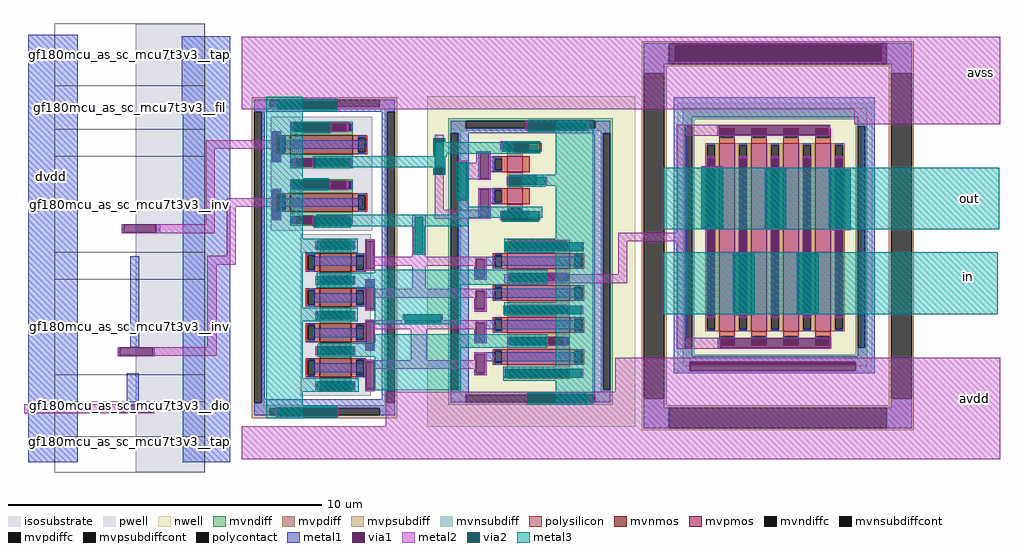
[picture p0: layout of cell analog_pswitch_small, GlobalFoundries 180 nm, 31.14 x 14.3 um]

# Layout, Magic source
magic
tech gf180mcuD
magscale 1 10
<< isosubstrate >>
rect 10920 200 11360 3060
<< nwell >>
rect 14449 949 15509 989
<< mvpsubdiff >>
rect 14149 2936 15888 2950
rect 14149 2804 14323 2936
rect 15714 2804 15888 2936
rect 14149 2790 15888 2804
rect 14149 2746 14309 2790
rect 14149 667 14163 2746
rect 14295 667 14309 2746
rect 14149 626 14309 667
rect 15728 2746 15888 2790
rect 15728 667 15742 2746
rect 15874 667 15888 2746
rect 15728 626 15888 667
rect 14149 612 15888 626
rect 14149 480 14323 612
rect 15714 480 15888 612
rect 14149 466 15888 480
<< mvpsubdiffcont >>
rect 14323 2804 15714 2936
rect 14163 667 14295 2746
rect 15742 667 15874 2746
rect 14323 480 15714 612
<< metal1 >>
rect 10235 264 10550 2990
rect 11214 2480 11524 2980
rect 10832 1780 11076 1782
rect 10832 1726 10844 1780
rect 11053 1726 11076 1780
rect 10832 1724 11076 1726
rect 10885 998 10945 1578
rect 10806 995 10945 998
rect 10970 995 11042 998
rect 10806 941 10820 995
rect 11029 941 11042 995
rect 10806 938 11042 941
rect 10864 632 10940 830
rect 10804 631 11033 632
rect 10804 579 10814 631
rect 11023 579 11033 631
rect 10804 576 11033 579
rect 11220 264 11524 2480
rect 14163 2804 14323 2936
rect 15714 2804 15874 2936
rect 14163 2746 14295 2804
rect 15742 2746 15874 2804
rect 14356 2506 15638 2593
rect 14356 939 14437 2506
rect 14632 2350 14644 2414
rect 15342 2350 15355 2414
rect 14632 2349 15355 2350
rect 14637 1054 15360 1055
rect 14637 990 14650 1054
rect 15348 990 15360 1054
rect 15556 939 15638 2506
rect 14356 903 15638 939
rect 14356 845 14457 903
rect 15517 845 15638 903
rect 14356 831 15638 845
rect 14163 612 14295 667
rect 15742 612 15874 667
rect 14163 480 14323 612
rect 15714 480 15874 612
<< via1 >>
rect 10844 1726 11053 1780
rect 10820 941 11029 995
rect 10814 579 11023 631
rect 14357 2819 15687 2929
rect 14644 2350 15342 2414
rect 14650 990 15348 1054
rect 14457 845 15517 903
<< metal2 >>
rect 16192 2977 16437 2978
rect 11599 2929 16437 2977
rect 11599 2819 14357 2929
rect 15687 2819 16437 2929
rect 11599 2517 16437 2819
rect 15507 2420 16437 2517
rect 14375 2414 15355 2416
rect 14375 2350 14644 2414
rect 15342 2350 15355 2414
rect 14375 2346 15355 2350
rect 11368 2262 11628 2318
rect 10832 1780 11076 1782
rect 11368 1780 11424 2262
rect 10832 1726 10844 1780
rect 11053 1726 11424 1780
rect 10832 1724 11424 1726
rect 11503 1579 11559 1948
rect 14375 1728 14431 2346
rect 11378 1523 11559 1579
rect 14001 1672 14431 1728
rect 11378 998 11438 1523
rect 14001 1461 14057 1672
rect 13273 1405 14057 1461
rect 10806 995 11438 998
rect 10806 941 10820 995
rect 11029 941 11438 995
rect 14375 1057 14431 1672
rect 14375 1054 15360 1057
rect 14375 990 14650 1054
rect 15348 990 15360 1054
rect 14375 988 15360 990
rect 10806 938 11042 941
rect 13981 903 16437 928
rect 13981 845 14457 903
rect 15517 845 16437 903
rect 13981 711 16437 845
rect 10208 631 11040 634
rect 10208 579 10814 631
rect 11023 579 11040 631
rect 10208 576 11040 579
rect 12517 492 16437 711
rect 11599 283 16437 492
<< metal3 >>
rect 14291 1750 16433 2142
rect 14291 1206 16423 1604
use asw_via1_10cut  asw_via1_10cut_0 paramcells
transform 1 0 -2053 0 1 -2024
box 16618 3208 16674 4238
use asw_via1_10cut  asw_via1_10cut_1
transform 1 0 -1849 0 1 -2024
box 16618 3208 16674 4238
use asw_via1_10cut  asw_via1_10cut_2
transform 1 0 -1645 0 1 -2024
box 16618 3208 16674 4238
use asw_via1_10cut  asw_via1_10cut_3
transform 1 0 -1441 0 1 -2024
box 16618 3208 16674 4238
use asw_via1_10cut  asw_via1_10cut_4
transform 1 0 -1237 0 1 -2024
box 16618 3208 16674 4238
use gf180mcu_as_sc_mcu7t3v3__diode_2  gf180mcu_as_sc_mcu7t3v3__diode_2_0 $PDKPATH/libs.ref/gf180mcu_as_sc_mcu7t3v3/mag
transform 0 -1 11274 1 0 510
box -86 -86 310 870
use gf180mcu_as_sc_mcu7t3v3__fillcap_4  gf180mcu_as_sc_mcu7t3v3__fillcap_4_1 $PDKPATH/libs.ref/gf180mcu_as_sc_mcu7t3v3/mag
transform 0 -1 11274 1 0 2302
box -86 -86 534 870
use gf180mcu_as_sc_mcu7t3v3__inv_4  gf180mcu_as_sc_mcu7t3v3__inv_4_0 $PDKPATH/libs.ref/gf180mcu_as_sc_mcu7t3v3/mag
transform 0 -1 11274 1 0 734
box -86 -86 870 870
use gf180mcu_as_sc_mcu7t3v3__inv_4  gf180mcu_as_sc_mcu7t3v3__inv_4_1
transform 0 -1 11274 1 0 1518
box -86 -86 870 870
use gf180mcu_as_sc_mcu7t3v3__tap_2  gf180mcu_as_sc_mcu7t3v3__tap_2_0 $PDKPATH/libs.ref/gf180mcu_as_sc_mcu7t3v3/mag
transform 0 -1 11274 1 0 2750
box -86 -86 310 870
use gf180mcu_as_sc_mcu7t3v3__tap_2  gf180mcu_as_sc_mcu7t3v3__tap_2_1
transform 0 -1 11274 1 0 286
box -86 -86 310 870
use pfet_05v0_TLQX2N  pfet_05v0_TLQX2N_0 paramcells
transform 1 0 15001 0 1 1700
box -620 -856 620 856
use sw_lvl_shift  sw_lvl_shift_0
transform 0 1 11133 -1 0 1298
box -1302 374 810 2977
use via_NN8LKN  via_NN8LKN_5 paramcells
transform 1 0 14601 0 1 1952
box -80 -199 80 199
use via_NN8LKN  via_NN8LKN_6
transform 1 0 14801 0 1 1401
box -80 -199 80 199
use via_NN8LKN  via_NN8LKN_7
transform 1 0 15211 0 1 1404
box -80 -199 80 199
use via_NN8LKN  via_NN8LKN_8
transform 1 0 15004 0 1 1945
box -80 -199 80 199
use via_NN8LKN  via_NN8LKN_9
transform 1 0 15414 0 1 1942
box -80 -199 80 199
<< labels >>
flabel metal1 11220 264 11524 497 0 FreeSans 1600 90 0 0 dvss
port 3 nsew
flabel metal1 10244 1677 10522 2496 0 FreeSans 1600 90 0 0 dvdd
port 2 nsew
flabel metal2 16112 449 16437 890 0 FreeSans 1600 0 0 0 avdd
port 6 nsew
flabel metal2 16194 2521 16437 2978 0 FreeSans 1600 0 0 0 avss
port 4 nsew
flabel metal3 16094 1772 16386 2124 0 FreeSans 1600 0 0 0 out
port 1 nsew
flabel metal3 16066 1298 16401 1604 0 FreeSans 1600 0 0 0 in
port 0 nsew
flabel metal2 10236 576 10306 620 0 FreeSans 320 180 0 0 enable
port 5 nsew
<< properties >>
string MASKHINTS_PPLUS 14117 434 14341 2955
<< end >>

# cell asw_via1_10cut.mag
magic
tech gf180mcuD
magscale 1 5
<< metal1 >>
rect 8310 2113 8336 2119
rect 8310 1604 8336 1610
<< via1 >>
rect 8310 1610 8336 2113
<< metal2 >>
rect 8309 2113 8337 2119
rect 8309 1610 8310 2113
rect 8336 1610 8337 2113
rect 8309 1604 8337 1610
<< end >>

# cell pfet_05v0_TLQX2N: kit device pfet_05v0, w 6.0 l 0.5 m 1 nf 4 diffcov 100 polycov 100 guard 1 glc 1 grc 1 gtc 0 gbc 0 tbcov 100 rlcov 100 topc 1 botc 1 poverlap 0 doverlap 1 lmin 0.5 wmin 0.3 lmax 0.545 class mosfet full_metal 1 compatible {pfet_03v3 pfet_05v0 pfet_06v0}

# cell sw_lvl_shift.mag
magic
tech gf180mcuD
magscale 1 10
<< nwell >>
rect -1302 1650 810 2977
<< mvpsubdiff >>
rect -1295 1440 753 1456
rect -1295 1393 -1200 1440
rect 657 1393 753 1440
rect -1295 1377 753 1393
rect -1295 1345 -1216 1377
rect -1295 643 -1279 1345
rect -1232 643 -1216 1345
rect -1295 609 -1216 643
rect 673 1345 753 1377
rect 673 643 690 1345
rect 736 643 753 1345
rect 673 609 753 643
rect -1295 593 753 609
rect -1295 546 -1200 593
rect 657 546 753 593
rect -1295 530 753 546
<< mvnsubdiff >>
rect -1159 2818 667 2834
rect -1159 2771 -1063 2818
rect 572 2771 667 2818
rect -1159 2755 667 2771
rect -1159 2722 -1080 2755
rect -1159 1895 -1143 2722
rect -1096 1895 -1080 2722
rect -1159 1862 -1080 1895
rect 588 2722 667 2755
rect 588 1895 604 2722
rect 651 1895 667 2722
rect 588 1862 667 1895
rect -1159 1846 667 1862
rect -1159 1799 -1063 1846
rect 572 1799 667 1846
rect -1159 1783 667 1799
<< mvpsubdiffcont >>
rect -1200 1393 657 1440
rect -1279 643 -1232 1345
rect 690 643 736 1345
rect -1200 546 657 593
<< mvnsubdiffcont >>
rect -1063 2771 572 2818
rect -1143 1895 -1096 2722
rect 604 1895 651 2722
rect -1063 1799 572 1846
<< metal1 >>
rect -1145 2771 -1063 2818
rect 572 2771 651 2818
rect -1145 2722 651 2771
rect -1145 1895 -1143 2722
rect -1096 2713 604 2722
rect -1096 1913 -1064 2713
rect -999 2171 -934 2245
rect -796 2171 -731 2245
rect -592 2171 -527 2245
rect -888 2079 -842 2080
rect -914 2054 -818 2079
rect -710 2054 -614 2079
rect -946 2042 -770 2054
rect -946 1974 -770 1986
rect -710 2042 -533 2054
rect -710 1974 -533 1986
rect -275 2015 -218 2626
rect -72 2015 -15 2626
rect 130 2015 187 2626
rect 334 2015 391 2626
rect -275 1959 -261 2015
rect -142 1959 -130 2015
rect -72 1959 -58 2015
rect 60 1959 72 2015
rect 130 1959 144 2015
rect 263 1959 275 2015
rect 333 1959 347 2015
rect 466 1959 478 2015
rect -1096 1895 604 1913
rect -1145 1846 651 1895
rect -1145 1799 -1063 1846
rect 572 1799 651 1846
rect -1279 1393 -1200 1440
rect 657 1393 736 1440
rect -1279 1358 736 1393
rect -1279 1345 -1202 1358
rect -1232 643 -1202 1345
rect 632 1345 736 1358
rect -1021 714 -964 1258
rect -387 1255 -375 1311
rect -199 1255 -187 1311
rect -131 1255 -119 1311
rect 57 1255 69 1311
rect 125 1255 137 1311
rect 313 1255 325 1311
rect 381 1255 393 1311
rect 569 1255 581 1311
rect -298 1243 -187 1255
rect -74 1243 42 1255
rect 150 1243 266 1255
rect 381 1253 540 1255
rect 381 1243 490 1253
rect -651 719 -595 1234
rect -275 917 -218 1243
rect -42 917 15 1243
rect 180 917 237 1243
rect 403 917 460 1243
rect -653 714 -595 719
rect -1078 658 -1066 714
rect -890 658 -878 714
rect -710 658 -698 714
rect -522 658 -510 714
rect -1279 611 -1202 643
rect 632 643 690 1345
rect 632 611 736 643
rect -1279 593 736 611
rect -1279 546 -1200 593
rect 657 546 736 593
<< via1 >>
rect -946 1986 -770 2042
rect -710 1986 -533 2042
rect -261 1959 -142 2015
rect -58 1959 60 2015
rect 144 1959 263 2015
rect 347 1959 466 2015
rect -375 1255 -199 1311
rect -119 1255 57 1311
rect 137 1255 313 1311
rect 393 1255 569 1311
rect -1066 658 -890 714
rect -698 658 -522 714
<< metal2 >>
rect -949 2042 -768 2054
rect -949 1986 -946 2042
rect -770 1986 -768 2042
rect -949 1967 -768 1986
rect -712 2042 -518 2054
rect -712 1986 -710 2042
rect -533 1986 -518 2042
rect -712 1974 -518 1986
rect -949 1961 -770 1967
rect -877 1911 -770 1961
rect -877 1901 -650 1911
rect -575 1754 -518 1974
rect -1056 1696 -518 1754
rect -275 2015 -128 2027
rect -275 1959 -261 2015
rect -142 1959 -128 2015
rect -275 1947 -128 1959
rect -72 2015 74 2027
rect -72 1959 -58 2015
rect 60 1959 74 2015
rect -72 1947 74 1959
rect 130 2015 277 2027
rect 130 1959 144 2015
rect 263 1959 277 2015
rect 130 1947 277 1959
rect 333 2015 480 2027
rect 333 1959 347 2015
rect 466 1959 480 2015
rect 333 1947 480 1959
rect -275 1639 -218 1947
rect -72 1639 -15 1947
rect -542 1552 -15 1639
rect -275 1313 -218 1552
rect -72 1313 -15 1552
rect 130 1646 187 1947
rect 383 1646 440 1947
rect 130 1542 440 1646
rect 130 1313 187 1542
rect 383 1313 440 1542
rect -387 1311 -187 1313
rect -387 1255 -375 1311
rect -199 1255 -187 1311
rect -387 1253 -187 1255
rect -131 1311 69 1313
rect -131 1255 -119 1311
rect 57 1255 69 1311
rect -131 1253 69 1255
rect 125 1311 325 1313
rect 125 1255 137 1311
rect 313 1255 325 1311
rect 125 1253 325 1255
rect 381 1311 581 1313
rect 381 1255 393 1311
rect 569 1255 581 1311
rect 381 1253 581 1255
rect -1078 714 -878 716
rect -1078 658 -1066 714
rect -890 658 -878 714
rect -1078 656 -878 658
rect -710 714 -510 716
rect -710 658 -698 714
rect -522 658 -510 714
rect -710 656 -510 658
rect -1021 374 -964 656
rect -653 652 -595 656
rect -651 374 -595 652
<< metal3 >>
rect -1149 2470 666 2708
rect -800 2247 -729 2470
rect -1006 1774 -934 2203
rect -596 1911 -525 2381
rect -392 2139 -304 2470
rect -878 1839 -472 1911
rect -1006 1754 -914 1774
rect -1006 1703 -847 1754
rect -919 939 -847 1703
rect -543 1632 -472 1839
rect -193 1862 -96 2413
rect 13 2139 101 2470
rect 218 1862 305 2413
rect 426 2134 514 2470
rect -543 1561 -290 1632
rect -543 939 -472 1561
rect -193 1315 156 1862
rect 218 1315 576 1862
rect -391 854 -303 1204
rect -173 943 -79 1315
rect 48 854 136 1206
rect 276 953 363 1315
rect 499 854 586 1211
rect -1297 621 753 854
use asw_via1_2cut  asw_via1_2cut_0 paramcells
transform 0 1 -2725 -1 0 13586
box 12431 3240 12611 3296
use asw_via1_2cut  asw_via1_2cut_1
transform 0 1 -2949 -1 0 13586
box 12431 3240 12611 3296
use asw_via1_2cut  asw_via1_2cut_2
transform 0 1 -3173 -1 0 13586
box 12431 3240 12611 3296
use asw_via1_2cut  asw_via1_2cut_3
transform 0 1 -3397 -1 0 13586
box 12431 3240 12611 3296
use asw_via1_2cut  asw_via1_2cut_4
transform 0 1 -3621 -1 0 13586
box 12431 3240 12611 3296
use asw_via1_2cut  asw_via1_2cut_5
transform 0 1 -3809 -1 0 14731
box 12431 3240 12611 3296
use asw_via1_2cut  asw_via1_2cut_6
transform 0 1 -4254 -1 0 14724
box 12431 3240 12611 3296
use asw_via1_2cut  asw_via1_2cut_7
transform 0 1 -4033 -1 0 14780
box 12431 3240 12611 3296
use asw_via1_3cut  asw_via1_3cut_0 paramcells
transform 0 1 -3587 -1 0 17319
box 14781 3209 15139 3266
use asw_via1_3cut  asw_via1_3cut_1
transform 0 1 -3383 -1 0 17319
box 14781 3209 15139 3266
use asw_via1_3cut  asw_via1_3cut_2
transform 0 1 -3179 -1 0 17319
box 14781 3209 15139 3266
use asw_via1_3cut  asw_via1_3cut_3
transform 0 1 -2975 -1 0 17319
box 14781 3209 15139 3266
use asw_via1_3cut  asw_via1_3cut_4
transform 0 1 -2771 -1 0 17319
box 14781 3209 15139 3266
use asw_via1_3cut  asw_via1_3cut_5
transform 0 1 -3748 1 0 -13991
box 14781 3209 15139 3266
use asw_via1_3cut  asw_via1_3cut_6
transform 0 1 -3971 1 0 -13991
box 14781 3209 15139 3266
use asw_via1_3cut  asw_via1_3cut_7
transform 0 1 -4115 1 0 -13991
box 14781 3209 15139 3266
use asw_via1_3cut  asw_via1_3cut_8
transform 0 1 -4339 1 0 -13991
box 14781 3209 15139 3266
use nfet_05v0_C5JAWQ  nfet_05v0_C5JAWQ_0 paramcells
transform 1 0 -806 0 1 974
box -364 -324 364 324
use nfet_05v0_Q93XV3  nfet_05v0_Q93XV3_0 paramcells
transform 1 0 96 0 1 1064
box -516 -224 516 224
use pfet_05v0_GAMEYB  pfet_05v0_GAMEYB_0 paramcells
transform 1 0 58 0 1 2358
box -530 -378 530 378
use pfet_05v0_KB9L9L  pfet_05v0_KB9L9L_0 paramcells
transform 1 0 -764 0 1 2184
box -326 -204 326 204
use via_QP3U7V  via_QP3U7V_0 paramcells
transform 1 0 -1116 0 1 2479
box -35 -201 45 201
use via_QP3U7V  via_QP3U7V_1
transform 1 0 -1249 0 1 885
box -35 -201 45 201
use via_QP3U7V  via_QP3U7V_2
transform 1 0 624 0 1 2477
box -35 -201 45 201
use via_QP3U7V  via_QP3U7V_3
transform 1 0 709 0 1 881
box -35 -201 45 201
use via_Y6Z86N  via_Y6Z86N_3 paramcells
transform 1 0 58 0 -1 2389
box -33 -255 43 254
use via_Y6Z86N  via_Y6Z86N_41
transform 1 0 -345 0 -1 2394
box -33 -255 43 254
use via_Y6Z86N  via_Y6Z86N_43
transform 1 0 463 0 -1 2389
box -33 -255 43 254
use via_Y6ZD6N  via_Y6ZD6N_0 paramcells
transform 1 0 -1106 0 1 913
box -33 -128 43 128
use via_Y6ZD6N  via_Y6ZD6N_1
transform 1 0 -745 0 1 904
box -33 -128 43 128
use via_Y6ZD6N  via_Y6ZD6N_2
transform 1 0 256 0 1 2292
box -33 -128 43 128
use via_Y6ZD6N  via_Y6ZD6N_3
transform 1 0 -883 0 1 1038
box -33 -128 43 128
use via_Y6ZD6N  via_Y6ZD6N_4
transform 1 0 -505 0 1 1042
box -33 -128 43 128
use via_Y6ZD6N  via_Y6ZD6N_5
transform 0 1 -917 -1 0 1731
box -33 -128 43 128
use via_Y6ZD6N  via_Y6ZD6N_6
transform 0 1 -760 -1 0 1878
box -33 -128 43 128
use via_Y6ZD6N  via_Y6ZD6N_7
transform 0 1 -415 -1 0 1601
box -33 -128 43 128
use via_Y6ZD6N  via_Y6ZD6N_8
transform -1 0 123 0 -1 1621
box -33 -128 43 128
use via_Y6ZD6N  via_Y6ZD6N_9
transform 1 0 -151 0 1 2297
box -33 -128 43 128
use via_Y6ZD6N  via_Y6ZD6N_10
transform -1 0 -532 0 -1 2242
box -33 -128 43 128
use via_Y6ZD6N  via_Y6ZD6N_11
transform -1 0 -970 0 -1 2252
box -33 -128 43 128
use via_Y6ZD6N  via_Y6ZD6N_12
transform -1 0 -755 0 -1 2285
box -33 -128 43 128
use via_Y6ZD6N  via_Y6ZD6N_13
transform 1 0 -354 0 1 1062
box -33 -128 43 128
use via_Y6ZD6N  via_Y6ZD6N_14
transform 1 0 -130 0 1 1062
box -33 -128 43 128
use via_Y6ZD6N  via_Y6ZD6N_15
transform 1 0 94 0 1 1062
box -33 -128 43 128
use via_Y6ZD6N  via_Y6ZD6N_16
transform 1 0 318 0 1 1062
box -33 -128 43 128
use via_Y6ZD6N  via_Y6ZD6N_17
transform 1 0 542 0 1 1062
box -33 -128 43 128
<< labels >>
flabel metal3 -177 1513 133 1663 0 FreeSans 1846 90 0 0 outn
port 5 nsew
flabel metal3 260 1518 567 1666 0 FreeSans 1846 90 0 0 out
port 4 nsew
flabel metal2 -651 374 -601 494 0 FreeSans 369 90 0 0 in_n
port 0 nsew
flabel metal2 -1021 374 -970 494 0 FreeSans 369 90 0 0 in_p
port 1 nsew
flabel metal3 -1006 2475 -378 2701 0 FreeSans 1846 0 0 0 vdd
port 2 nsew
flabel metal3 -426 695 -69 824 0 FreeSans 1846 0 0 0 vss
port 3 nsew
<< properties >>
string MASKHINTS_THKOX -2081 -336 17923 5183
<< end >>

# cell via_NN8LKN: kit device via, metalbot metal2 metaltop metal3 nxcuts 2 nycuts 4 orient default pattern none

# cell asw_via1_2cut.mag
magic
tech gf180mcuD
magscale 1 10
<< metal1 >>
rect 12431 3242 12443 3294
rect 12599 3242 12611 3294
<< via1 >>
rect 12443 3242 12599 3294
<< metal2 >>
rect 12431 3294 12611 3296
rect 12431 3242 12443 3294
rect 12599 3242 12611 3294
rect 12431 3240 12611 3242
<< end >>

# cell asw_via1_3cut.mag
magic
tech gf180mcuD
magscale 1 10
<< metal1 >>
rect 14784 3211 14796 3263
rect 15123 3211 15136 3263
<< via1 >>
rect 14796 3211 15123 3263
<< metal2 >>
rect 14781 3263 15139 3266
rect 14781 3211 14796 3263
rect 15123 3211 15139 3263
rect 14781 3209 15139 3211
<< end >>

# cell nfet_05v0_C5JAWQ: kit device nfet_05v0, w 2.0 l 0.6 m 1 nf 2 diffcov 100 polycov 100 guard 0 glc 0 grc 0 gtc 0 gbc 0 tbcov 100 rlcov 100 topc 1 botc 1 poverlap 0 doverlap 0 lmin 0.6 wmin 0.3 lmax 0.695 class mosfet full_metal 0 compatible {nfet_03v3 nfet_05v0 nfet_06v0 nfet_06v0_nvt}

# cell nfet_05v0_Q93XV3: kit device nfet_05v0, w 1.0 l 0.6 m 1 nf 4 diffcov 100 polycov 100 guard 0 glc 0 grc 0 gtc 0 gbc 0 tbcov 100 rlcov 100 topc 1 botc 1 poverlap 0 doverlap 1 lmin 0.6 wmin 0.3 lmax 0.695 class mosfet full_metal 0 compatible {nfet_03v3 nfet_05v0 nfet_06v0 nfet_06v0_nvt}

# cell pfet_05v0_GAMEYB: kit device pfet_05v0, w 2.0 l 0.5 m 1 nf 4 diffcov 100 polycov 100 guard 0 glc 0 grc 0 gtc 0 gbc 0 tbcov 100 rlcov 100 topc 1 botc 1 poverlap 0 doverlap 1 lmin 0.5 wmin 0.3 lmax 0.545 class mosfet full_metal 0 compatible {pfet_03v3 pfet_05v0 pfet_06v0}

# cell pfet_05v0_KB9L9L: kit device pfet_05v0, w 0.5 l 0.5 m 1 nf 2 diffcov 100 polycov 100 guard 0 glc 0 grc 0 gtc 0 gbc 0 tbcov 100 rlcov 100 topc 0 botc 1 poverlap 0 doverlap 1 lmin 0.5 wmin 0.3 lmax 0.545 class mosfet full_metal 0 compatible {pfet_03v3 pfet_05v0 pfet_06v0}

# cell via_QP3U7V: kit device via, metalbot metal1 metaltop metal3 nxcuts 1 nycuts 4 orient default pattern none

# cell via_Y6Z86N: kit device via, metalbot metal2 metaltop metal3 nxcuts 1 nycuts 5 orient default pattern none

# cell via_Y6ZD6N: kit device via, metalbot metal2 metaltop metal3 nxcuts 1 nycuts 3 orient default pattern none
